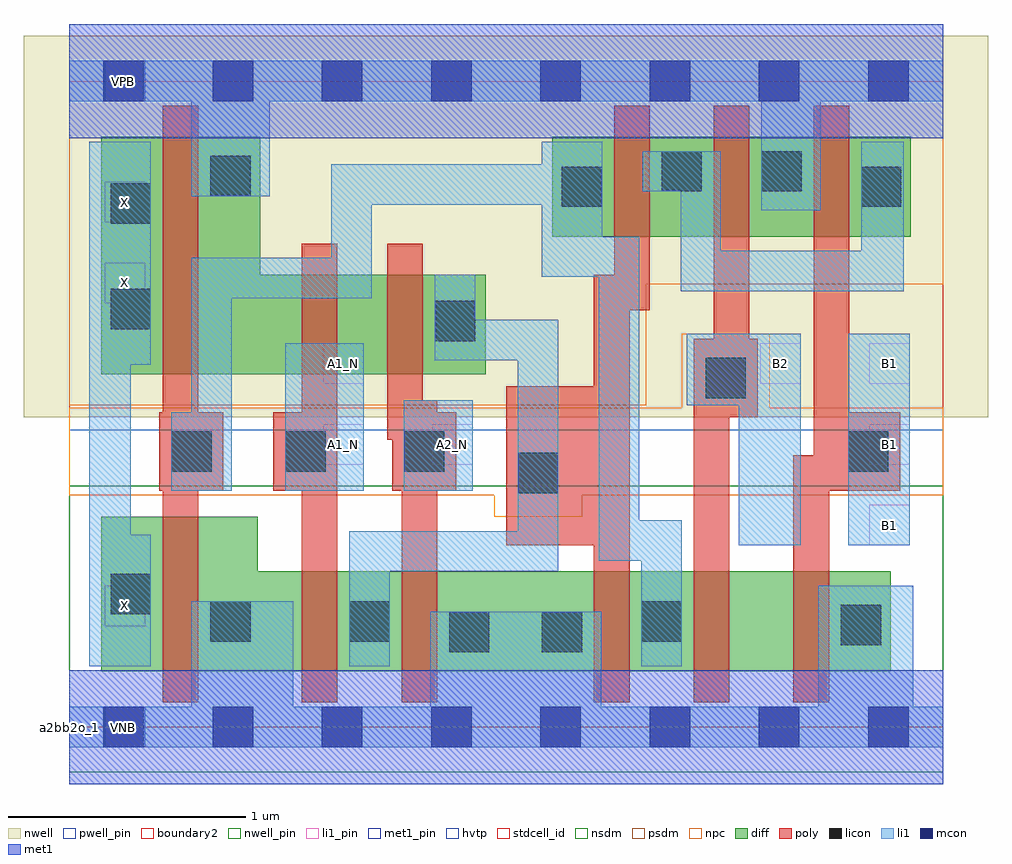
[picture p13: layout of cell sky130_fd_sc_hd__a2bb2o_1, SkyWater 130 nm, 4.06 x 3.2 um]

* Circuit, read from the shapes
.subckt sky130_fd_sc_hd__a2bb2o_1 A1_N A2_N B1 B2 VGND VNB VPB VPWR X
XM1 VGND n1 X VNB sky130_fd_pr__nfet_01v8 w=0.65 l=0.15
XM2 n2 A1_N VGND VNB sky130_fd_pr__nfet_01v8 w=0.42 l=0.15
XM3 VGND A2_N n2 VNB sky130_fd_pr__nfet_01v8 w=0.42 l=0.15
XM4 n1 n2 VGND VNB sky130_fd_pr__nfet_01v8 w=0.42 l=0.15
XM5 n3 B2 n1 VNB sky130_fd_pr__nfet_01v8 w=0.42 l=0.15
XM6 VGND B1 n3 VNB sky130_fd_pr__nfet_01v8 w=0.42 l=0.15
XM7 VPWR n1 X VPB sky130_fd_pr__pfet_01v8_hvt w=1 l=0.15
XM8 n4 A1_N VPWR VPB sky130_fd_pr__pfet_01v8_hvt w=0.42 l=0.15
XM9 n2 A2_N n4 VPB sky130_fd_pr__pfet_01v8_hvt w=0.42 l=0.15
XM10 n5 n2 n1 VPB sky130_fd_pr__pfet_01v8_hvt w=0.42 l=0.15
XM11 VPWR B2 n5 VPB sky130_fd_pr__pfet_01v8_hvt w=0.42 l=0.15
XM12 n5 B1 VPWR VPB sky130_fd_pr__pfet_01v8_hvt w=0.42 l=0.15
.ends

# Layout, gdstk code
import gdstk
lib = gdstk.Library(unit=1e-6, precision=1e-09)
def R(c, l, rs):  # rectangles x0, y0, x1, y1
    for r in rs: c.add(gdstk.rectangle(r[:2], r[2:], *l))
def A(c, l, x, y, w, h, nx, ny, dx, dy):  # array of equal rectangles
    R(c, l, [(x+i*dx, y+j*dy, x+i*dx+w, y+j*dy+h) for i in range(nx) for j in range(ny)])
def P(c, l, *ps):  # polygons
    for p in ps: c.add(gdstk.Polygon(p, *l))
nwell_pin = (64, 16)
nwell = (64, 20)
diff = (65, 20)
poly = (66, 20)
licon = (66, 44)
li1_pin = (67, 16)
li1 = (67, 20)
mcon = (67, 44)
met1_pin = (68, 16)
met1 = (68, 20)
hvtp = (78, 44)
stdcell_id = (81, 4)
nsdm = (93, 44)
psdm = (94, 20)
npc = (95, 20)
pwell_pin = (122, 16)
boundary2 = (236, 0)

sky130_fd_sc_hd__a2bb2o_ = lib.new_cell('sky130_fd_sc_hd__a2bb2o_1')
R(sky130_fd_sc_hd__a2bb2o_, nwell_pin, [(0.15,2.635,0.32,2.805)])
R(sky130_fd_sc_hd__a2bb2o_, nwell, [(-0.19,1.305,3.87,2.91)])
R(sky130_fd_sc_hd__a2bb2o_, diff, [(2.035,2.065,3.545,2.485)])
P(sky130_fd_sc_hd__a2bb2o_, diff, [(3.46,0.655),(0.795,0.655),(0.795,0.885),(0.135,0.885),(0.135,0.235),(3.46,0.235)],
  [(1.755,1.905),(0.805,1.905),(0.805,2.485),(0.135,2.485),(0.135,1.485),(1.755,1.485)])
P(sky130_fd_sc_hd__a2bb2o_, poly, [(0.65,1.325),(0.545,1.325),(0.545,2.615),(0.395,2.615),(0.395,1.325),(0.38,1.325),(0.38,0.995),(0.395,0.995),(0.395,0.105),(0.545,0.105),(0.545,0.995),(0.65,0.995)],
  [(1.13,2.035),(0.98,2.035),(0.98,1.325),(0.86,1.325),(0.86,0.995),(0.98,0.995),(0.98,0.105),(1.13,0.105)],
  [(1.63,1.325),(1.55,1.325),(1.55,1.375),(1.49,1.375),(1.49,2.035),(1.34,2.035),(1.34,1.21),(1.36,1.21),(1.36,0.995),(1.4,0.995),(1.4,0.105),(1.55,0.105),(1.55,0.995),(1.63,0.995)],
  [(2.445,2.615),(2.295,2.615),(2.295,1.905),(2.21,1.905),(2.21,1.435),(1.84,1.435),(1.84,0.765),(2.21,0.765),(2.21,0.105),(2.36,0.105),(2.36,1.755),(2.445,1.755)],
  [(2.9,1.635),(2.865,1.635),(2.865,2.615),(2.715,2.615),(2.715,1.635),(2.63,1.635),(2.63,0.105),(2.78,0.105),(2.78,1.305),(2.9,1.305)],
  [(3.5,1.325),(3.285,1.325),(3.285,2.615),(3.135,2.615),(3.135,1.145),(3.05,1.145),(3.05,0.105),(3.2,0.105),(3.2,0.995),(3.5,0.995)])
R(sky130_fd_sc_hd__a2bb2o_, licon, [(1.6,0.315,1.77,0.485), (1.99,0.315,2.16,0.485), (3.25,0.345,3.42,0.515), (0.595,0.36,0.765,0.53), (1.18,0.36,1.35,0.53), (2.41,0.36,2.58,0.53), (0.175,0.475,0.345,0.645), (1.89,0.985,2.06,1.155), (0.43,1.075,0.6,1.245), (0.91,1.075,1.08,1.245), (1.41,1.075,1.58,1.245), (3.28,1.075,3.45,1.245), (2.68,1.385,2.85,1.555), (1.54,1.625,1.71,1.795), (0.175,1.675,0.345,1.845), (0.175,2.12,0.345,2.29), (2.075,2.19,2.245,2.36), (3.335,2.19,3.505,2.36), (0.595,2.235,0.765,2.405), (2.495,2.255,2.665,2.425), (2.915,2.255,3.085,2.425)])
A(sky130_fd_sc_hd__a2bb2o_, li1_pin, 3.37, 0.765, 0.17, 0.17, 1, 3, 0, 0.34)
R(sky130_fd_sc_hd__a2bb2o_, li1_pin, [(0.15,-0.085,0.32,0.085), (0.15,0.425,0.32,0.595), (1.07,1.105,1.24,1.275), (1.53,1.105,1.7,1.275), (1.07,1.445,1.24,1.615), (2.91,1.445,3.08,1.615), (0.15,1.785,0.32,1.955), (0.15,2.125,0.32,2.295), (0.15,2.635,0.32,2.805)])
R(sky130_fd_sc_hd__a2bb2o_, li1, [(3.28,0.765,3.54,1.655), (0.91,0.995,1.24,1.615), (1.41,0.995,1.7,1.375)])
P(sky130_fd_sc_hd__a2bb2o_, li1, [(2.58,0.87),(2.4,0.87),(2.4,2.065),(2.245,2.065),(2.245,2.465),(1.99,2.465),(1.99,2.37),(1.105,2.37),(1.105,1.975),(0.515,1.975),(0.515,1.325),(0.43,1.325),(0.43,0.995),(0.685,0.995),(0.685,1.805),(1.275,1.805),(1.275,2.2),(1.99,2.2),(1.99,1.895),(2.23,1.895),(2.23,0.7),(2.41,0.7),(2.41,0.255),(2.58,0.255)],
  [(3.08,1.655),(2.6,1.655),(2.6,1.355),(2.82,1.355),(2.82,0.765),(3.08,0.765)],
  [(2.06,1.715),(1.71,1.715),(1.71,1.905),(1.54,1.905),(1.54,1.545),(1.89,1.545),(1.89,0.825),(1.18,0.825),(1.18,0.255),(1.35,0.255),(1.35,0.655),(2.06,0.655)],
  [(3.515,2.465),(3.335,2.465),(3.335,2.005),(2.745,2.005),(2.745,2.425),(2.415,2.425),(2.415,2.255),(2.575,2.255),(2.575,1.835),(3.515,1.835)],
  [(0.345,0.81),(0.26,0.81),(0.26,1.525),(0.345,1.525),(0.345,2.465),(0.085,2.465),(0.085,0.255),(0.345,0.255)],
  [(3.68,2.805),(0,2.805),(0,2.635),(0.515,2.635),(0.515,2.235),(0.845,2.235),(0.845,2.635),(2.915,2.635),(2.915,2.175),(3.165,2.175),(3.165,2.635),(3.68,2.635)],
  [(3.68,0.085),(3.555,0.085),(3.555,0.595),(3.155,0.595),(3.155,0.085),(2.24,0.085),(2.24,0.485),(1.52,0.485),(1.52,0.085),(0.945,0.085),(0.945,0.53),(0.515,0.53),(0.515,0.085),(0,0.085),(0,-0.085),(3.68,-0.085)])
A(sky130_fd_sc_hd__a2bb2o_, mcon, 0.145, -0.085, 0.17, 0.17, 8, 2, 0.46, 2.72)
R(sky130_fd_sc_hd__a2bb2o_, met1_pin, [(0.15,-0.085,0.32,0.085), (0.15,2.635,0.32,2.805)])
R(sky130_fd_sc_hd__a2bb2o_, hvtp, [(0,1.25,3.68,2.72)])
R(sky130_fd_sc_hd__a2bb2o_, stdcell_id, [(0,0,3.68,2.72)])
R(sky130_fd_sc_hd__a2bb2o_, nsdm, [(0,-0.19,3.68,1.015)])
P(sky130_fd_sc_hd__a2bb2o_, psdm, [(3.68,2.91),(0,2.91),(0,1.355),(2.43,1.355),(2.43,1.865),(3.68,1.865)])
P(sky130_fd_sc_hd__a2bb2o_, npc, [(3.68,1.345),(2.95,1.345),(2.95,1.655),(2.58,1.655),(2.58,1.345),(0,1.345),(0,0.975),(1.79,0.975),(1.79,0.885),(2.16,0.885),(2.16,0.975),(3.68,0.975)])
R(sky130_fd_sc_hd__a2bb2o_, pwell_pin, [(0.15,-0.085,0.32,0.085)])
R(sky130_fd_sc_hd__a2bb2o_, boundary2, [(0,0,3.68,2.72)])
sky130_fd_sc_hd__a2bb2o_.add(gdstk.FlexPath([(0,2.72),(3.68,2.72)], 0.48, ends="flush", simple_path=True, layer=68, datatype=20))  # met1
sky130_fd_sc_hd__a2bb2o_.add(gdstk.FlexPath([(0,0),(3.68,0)], 0.48, ends="flush", simple_path=True, layer=68, datatype=20))  # met1
sky130_fd_sc_hd__a2bb2o_.add(gdstk.Label('VNB', (0.23,0), layer=64, texttype=59))
sky130_fd_sc_hd__a2bb2o_.add(gdstk.Label('VPB', (0.23,2.72), layer=64, texttype=5))
sky130_fd_sc_hd__a2bb2o_.add(gdstk.Label('VGND', (0.23,0), layer=68, texttype=5))
sky130_fd_sc_hd__a2bb2o_.add(gdstk.Label('VPWR', (0.23,2.72), layer=68, texttype=5))
sky130_fd_sc_hd__a2bb2o_.add(gdstk.Label('VPWR', (0.23,2.72), layer=67, texttype=5))
sky130_fd_sc_hd__a2bb2o_.add(gdstk.Label('VGND', (0.23,0), layer=67, texttype=5))
sky130_fd_sc_hd__a2bb2o_.add(gdstk.Label('B1', (3.455,1.19), layer=67, texttype=5))
sky130_fd_sc_hd__a2bb2o_.add(gdstk.Label('B1', (3.455,1.53), layer=67, texttype=5))
sky130_fd_sc_hd__a2bb2o_.add(gdstk.Label('B1', (3.455,0.85), layer=67, texttype=5))
sky130_fd_sc_hd__a2bb2o_.add(gdstk.Label('A1_N', (1.155,1.19), layer=67, texttype=5))
sky130_fd_sc_hd__a2bb2o_.add(gdstk.Label('A2_N', (1.615,1.19), layer=67, texttype=5))
sky130_fd_sc_hd__a2bb2o_.add(gdstk.Label('X', (0.235,0.51), layer=67, texttype=5))
sky130_fd_sc_hd__a2bb2o_.add(gdstk.Label('B2', (2.995,1.53), layer=67, texttype=5))
sky130_fd_sc_hd__a2bb2o_.add(gdstk.Label('A1_N', (1.155,1.53), layer=67, texttype=5))
sky130_fd_sc_hd__a2bb2o_.add(gdstk.Label('X', (0.235,2.21), layer=67, texttype=5))
sky130_fd_sc_hd__a2bb2o_.add(gdstk.Label('X', (0.235,1.87), layer=67, texttype=5))
sky130_fd_sc_hd__a2bb2o_.add(gdstk.Label('a2bb2o_1', (0,0), layer=83, texttype=44))

lib.write_gds('sky130_fd_sc_hd__a2bb2o_1.gds')
